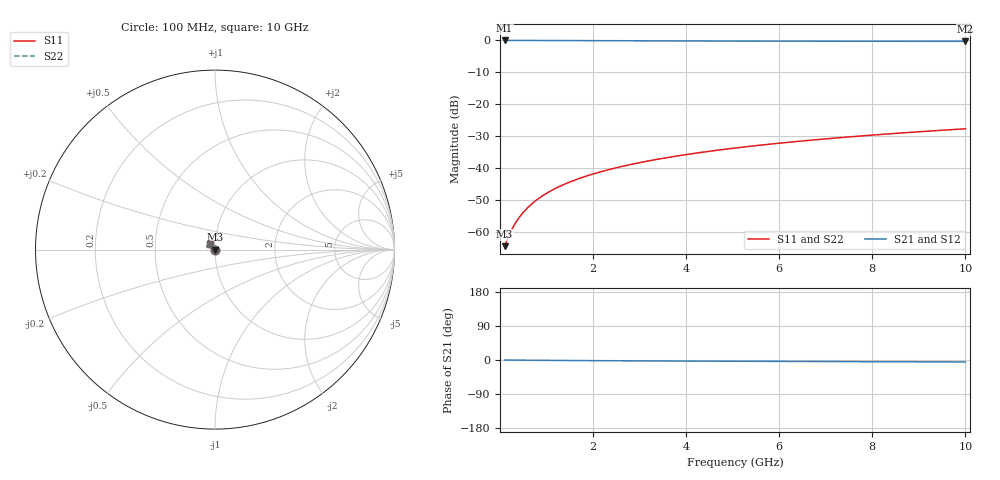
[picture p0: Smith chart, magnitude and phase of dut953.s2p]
! Touchstone file exported from HFSS 2024.1.0
!  File:  C:/UserFiles/LocalFiles/RDL_TSV_Batchsim/temp_TSV1_953_1779949125.aedt
!  Generated:  02:28:11 PM May 28, 2026
!  Design:  TSV1
!  Project:  temp_TSV1_953_1779949125
!  Setup:  Setup1
!  Solution:  Sweep
! Variables:
!  dtsv = 5.3um
!  hbump = 3um
!  htsv = 71.05um
!  lrdl = 252.1521522um
!  p = 40
!  p1 = 59.15um
!  t = 500um
!  trdl = 3um
!  wrdl = 24.89489489um
# GHz S MA R 50.000000
! Terminal data exported
! Port[1] = TSV22_T1
! Port[2] = TSV22_T2
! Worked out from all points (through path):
!   100 points, 100 MHz to 10 GHz, reference 50 ohm
!   highest |S21| = 0.00 dB at 100 MHz (marker M1); lowest = -0.3 dB at 10 GHz (marker M2)
!   lowest |S11| = -64.4 dB at 100 MHz (marker M3), VSWR 1.00, Z = 50 - j0.0419 ohm
!   |S11| at or under -10 dB: start of sweep to end of sweep
!   |S22| runs from -64.4 to -27.6 dB; largest |S21 - S12| = 4.4e-15
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0.1  0.0006041 -43.8  0.9995 -0.1  0.9995 -0.1  0.0006041 -43.8
! Gamma 0 0 0 0
! Port Impedance 50 0 50 0
0.2  0.0009109 -66.4  0.9994 -0.2  0.9994 -0.2  0.0009109 -66.4
0.3  0.00127 -78.7  0.9993 -0.3  0.9993 -0.3  0.00127 -78.7
0.4  0.001651 -86.9  0.9991 -0.4  0.9991 -0.4  0.001651 -86.9
0.5  0.002042 -93.2  0.9989 -0.5  0.9989 -0.5  0.002042 -93.2
0.6  0.002439 -98.3  0.9987 -0.6  0.9987 -0.6  0.002439 -98.3
0.7  0.00284 -102.8  0.9984 -0.7  0.9984 -0.7  0.00284 -102.8
0.9  0.003647 -110.8  0.9977 -0.8  0.9977 -0.8  0.003647 -110.8
1  0.004052 -114.4  0.9973 -0.9  0.9973 -0.9  0.004052 -114.4
1.2  0.004865 -121.1  0.9965 -1.1  0.9965 -1.1  0.004865 -121.1
1.5  0.006087 -130.3  0.995 -1.3  0.995 -1.3  0.006087 -130.3
1.8  0.007312 -138.7  0.9934 -1.6  0.9934 -1.6  0.007312 -138.7
2.1  0.008539 -146.5  0.9918 -1.8  0.9918 -1.8  0.008539 -146.5
2.5  0.01018 -156.0  0.9895 -2.0  0.9895 -2.0  0.01018 -156.0
2.9  0.01182 -164.5  0.9873 -2.3  0.9873 -2.3  0.01182 -164.5
3.4  0.01388 -173.9  0.9847 -2.5  0.9847 -2.5  0.01388 -173.9
4.2  0.01719 173.4  0.981 -2.9  0.981 -2.9  0.01719 173.4
5.1  0.02092 161.9  0.9777 -3.3  0.9777 -3.3  0.02092 161.9
5.9  0.02425 153.7  0.9754 -3.6  0.9754 -3.6  0.02425 153.7
6.7  0.02758 146.8  0.9734 -3.9  0.9734 -3.9  0.02758 146.8
8.4  0.03471 135.6  0.9704 -4.6  0.9704 -4.6  0.03471 135.6
10  0.04147 127.9  0.9682 -5.2  0.9682 -5.2  0.04147 127.9
